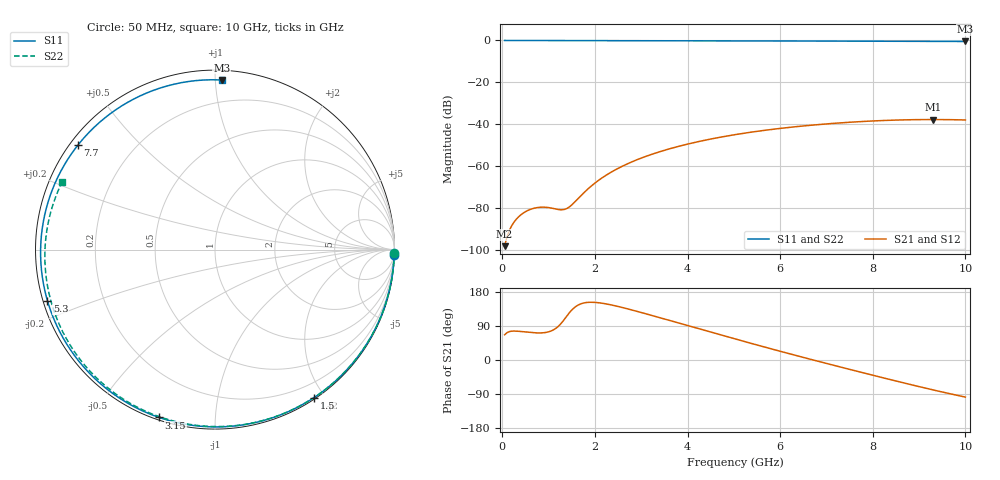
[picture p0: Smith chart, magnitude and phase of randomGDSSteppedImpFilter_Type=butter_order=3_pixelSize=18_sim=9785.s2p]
! freq	dB(S11)	phase(S11)	dB(S12)	phase(S12)
!  dB(S21)	phase(S21)	dB(S22)	phase(S22)
!S-par simulation data
#  GHz  S  DB  R 50
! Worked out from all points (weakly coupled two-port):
!   200 points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, 50 MHz to 10 GHz, reference 50 ohm
!   highest |S21| = -37.68 dB at 9.3 GHz (marker M1); lowest = -98.0 dB at 50 MHz (marker M2)
!   lowest |S11| = -0.5 dB at 10 GHz (marker M3), VSWR 35.70, Z = 2.92 + j52 ohm
!   |S11| at or under -10 dB: nowhere
!   |S22| runs from -0.6 to 0.0 dB; largest |S21 - S12| = 0
!   S11 on the Smith chart (normalised r, x): 50 MHz: 2, -61; 1.5 GHz: 0.02, -1.87; 3.15 GHz: 0.01, -0.72; 5.3 GHz: 0.01, -0.15; 7.7 GHz: 0.02, +0.34; 10 GHz: 0.06, +1.04
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0.05  -0.01 -1.9  -98.01 66.5  -98.01 66.5  -0.01 -1.1
0.35  -0.02 -13.5  -84.06 75.8  -84.06 75.8  -0.01 -8.2
0.7  -0.04 -26.9  -79.86 71.6  -79.86 71.6  -0.02 -16.4
0.9  -0.04 -34.5  -79.43 72.0  -79.43 72.0  -0.03 -21.0
1.1  -0.05 -41.9  -80.03 79.2  -80.03 79.2  -0.03 -25.6
1.4  -0.06 -52.7  -80.00 117.1  -80.00 117.1  -0.04 -32.5
1.5  -0.07 -56.2  -78.37 131.8  -78.37 131.8  -0.04 -34.8
1.75  -0.08 -64.9  -72.82 150.2  -72.82 150.2  -0.05 -40.4
2.05  -0.09 -74.9  -67.12 151.5  -67.12 151.5  -0.06 -47.1
2.35  -0.10 -84.6  -62.76 145.4  -62.76 145.4  -0.07 -53.7
2.7  -0.11 -95.4  -58.80 135.2  -58.80 135.2  -0.08 -61.3
3.15  -0.12 -108.5  -54.83 120.3  -54.83 120.3  -0.09 -70.8
3.4  -0.13 -115.5  -53.01 111.7  -53.01 111.7  -0.10 -76.0
4.25  -0.16 -137.8  -48.12 82.3  -48.12 82.3  -0.13 -93.2
5.05  -0.20 -157.1  -44.79 54.8  -44.79 54.8  -0.16 -108.8
5.3  -0.21 -163.0  -43.93 46.4  -43.93 46.4  -0.18 -113.5
6  -0.25 -179.0  -41.91 23.0  -41.91 23.0  -0.22 -126.7
6.7  -0.29 165.3  -40.33 0.4  -40.33 0.4  -0.27 -139.6
7.7  -0.35 142.8  -38.70 -31.0  -38.70 -31.0  -0.35 -158.1
8.35  -0.39 127.8  -38.04 -50.9  -38.04 -50.9  -0.42 -170.4
9.3  -0.45 105.1  -37.68 -78.9  -37.68 -78.9  -0.53 170.9
10  -0.49 87.7  -37.88 -97.8  -37.88 -97.8  -0.62 156.2
